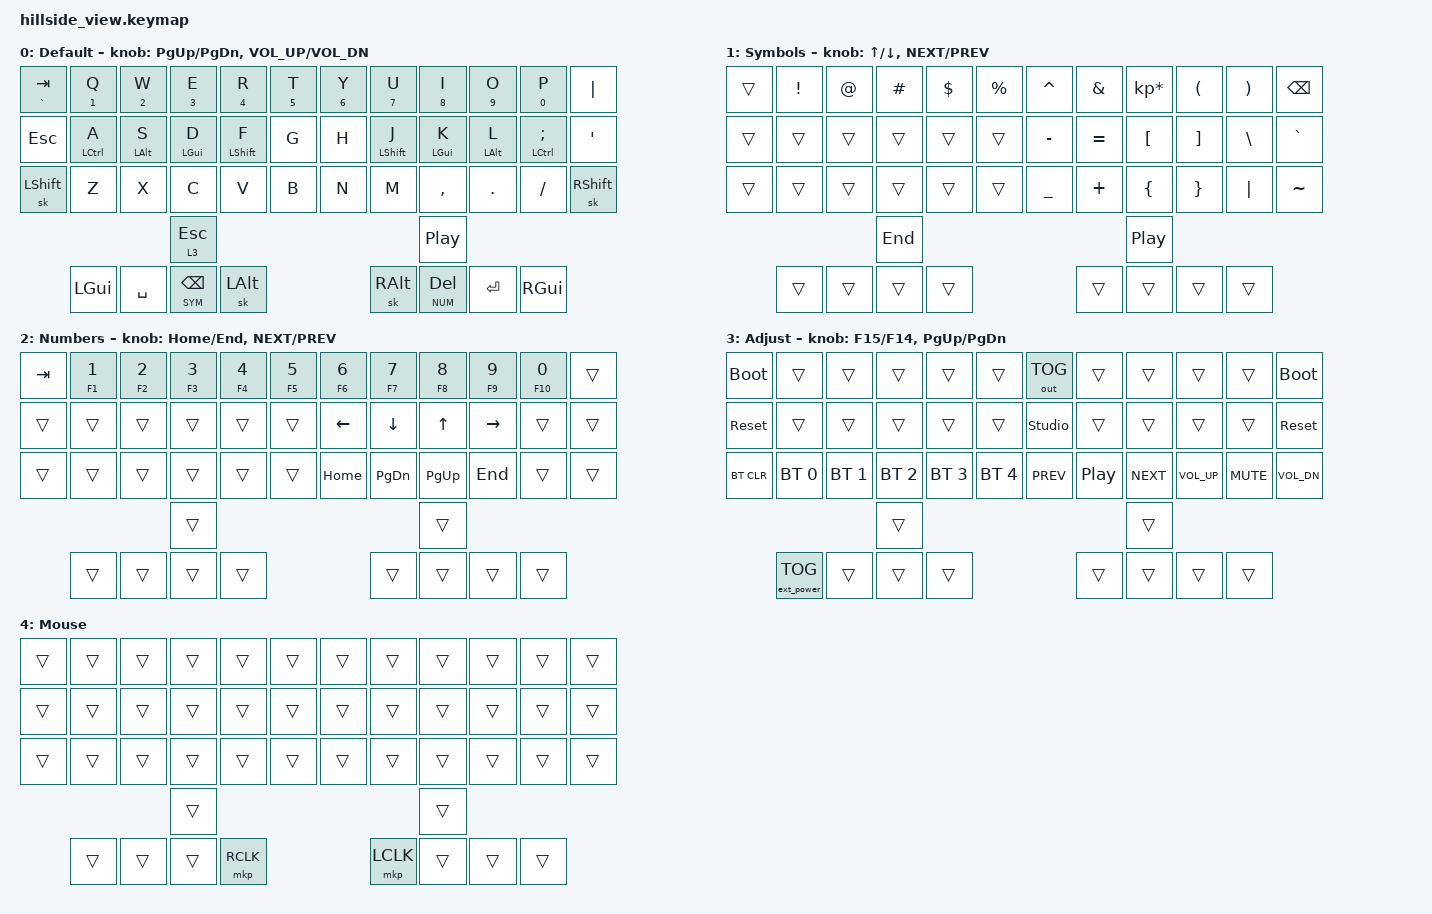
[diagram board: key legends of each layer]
#include <dt-bindings/zmk/mouse.h>
#include <behaviors/mouse_keys.dtsi>
#include <behaviors/studio_unlock.dtsi>
#include <dt-bindings/zmk/input_transform.h>
#include <input/processors.dtsi>
#include <behaviors.dtsi>
#include <dt-bindings/zmk/bt.h>
#include <dt-bindings/zmk/ext_power.h>
#include <dt-bindings/zmk/keys.h>
#include <dt-bindings/zmk/outputs.h>
#include <dt-bindings/zmk/pointing.h>

#define DEF 0
#define SYM 1
#define NUM 2
#define ADJ 3
#define MOUSE 4
#define QUICK_TAP_MS 175
#define TAPPING_TERM_MS 150

&sk {
    release-after-ms = <600>;
    quick-release;
};

/ {
    // Trackpad input listener with temp layer and layer-specific processors
    // - MOUSE layer activates during any trackpad movement (300ms timeout)
    // - NUM layer: precise mode (slower movement)
    // - SYM layer: scroll mode

    tpad0_mmv_il {
        compatible = "zmk,input-listener";
        device = <&glidepoint_split>;
        input-processors = <&zip_temp_layer MOUSE 300>;

        precise {
            layers = <NUM>;
            process-next;
            input-processors = <&zip_xy_scaler 1 3>;
        };

        scroll {
            layers = <SYM>;
            process-next;
            input-processors =
                <&zip_xy_scaler 1 22>,
                <&zip_x_scaler 0 1>,
                <&zip_xy_to_scroll_mapper>;
        };
    };

    conditional_layers {
        compatible = "zmk,conditional-layers";

        tri_layer {
            if-layers = <SYM NUM>;
            then-layer = <ADJ>;
        };
    };

    combos {
        compatible = "zmk,combos";

        caps {
            timeout-ms = <50>;
            key-positions = <17 18>;  // G and H (home row shifts)
            bindings = <&caps_word>;
        };
    };

    behaviors {
        lq: layer_toggle_quick {
            compatible = "zmk,behavior-hold-tap";
            label = "Layer Toggle Quick";
            #binding-cells = <2>;
            flavor = "tap-preferred";
            tapping-term-ms = <TAPPING_TERM_MS>;
            quick-tap-ms = <QUICK_TAP_MS>;
            bindings = <&mo>, <&kp>;
        };

        ht: hold_tap {
            compatible = "zmk,behavior-hold-tap";
            label = "Hold Tap";
            #binding-cells = <2>;
            flavor = "tap-preferred";
            tapping-term-ms = <200>;
            quick-tap-ms = <175>;
            bindings = <&kp>, <&kp>;
        };

        htb: hold_tap_balanced {
            compatible = "zmk,behavior-hold-tap";
            label = "Hold Tap Balanced";
            #binding-cells = <2>;
            flavor = "balanced";
            tapping-term-ms = <200>;
            quick-tap-ms = <175>;
            bindings = <&kp>, <&kp>;
        };
    };

    keymap {
        compatible = "zmk,keymap";

        default_layer {
            display-name = "Default";

            // ---------------------------------------------------------------------------------------
            // | `/TAB | 1/Q | 2/W | 3/E | 4/R | 5/T |                | 6/Y | 7/U | 8/I | 9/O | 0/P |  |   |
            // |  ESC  | ^/A | @/S | ⌘/D | ⇧/F |  G  |                |  H  | ⇧/J | ⌘/K | @/L | ^/; |  '   |
            // |  ⇧    |  Z  |  X  |  C  |  V  |  B  |                |  N  |  M  |  ,  |  .  |  /  |  ⇧   |
            //                                        | END |     | PP |
            //                     | ⌘ | SPC | ⎇/BSPC | @ |     | @ | ⌥/DEL | RET | ⌘ |

            bindings = <
&ht GRAVE TAB  &ht N1 Q     &ht N2 W    &ht N3 E      &ht N4 R       &ht N5 T      &ht N6 Y  &ht N7 U       &ht N8 I     &ht N9 O    &ht N0 P        &kp PIPE
&kp ESC        &ht LCTRL A  &ht LALT S  &ht LGUI D    &htb LSHIFT F  &kp G         &kp H     &htb LSHIFT J  &ht LGUI K   &ht LALT L  &ht LCTRL SEMI  &kp SQT
&sk LSHFT      &kp Z        &kp X       &kp C         &kp V          &kp B         &kp N     &kp M          &kp COMMA    &kp DOT     &kp FSLH        &sk RSHFT
                                        &lt 3 ESC                                                           &kp C_PP
               &kp LGUI     &kp SPACE   &lq SYM BSPC  &sk LEFT_ALT                           &sk RIGHT_ALT  &lq NUM DEL  &kp RET     &kp RGUI
            >;

            sensor-bindings = <&inc_dec_kp PG_UP PG_DN &inc_dec_kp C_VOL_UP C_VOL_DN>;
        };

        sym_layer {
            display-name = "Symbols";

            // ---------------------------------------------------------------------------------------
            // |     |  !  |  @  |  #  |  $  |  %  |                |  ^  |  &  |  *  |  (  |  )  | BSPC |
            // |     |     |     |     |     |     |                |  -  |  =  |  [  |  ]  |  \  |  `   |
            // |     |     |     |     |     |     |                |  _  |  +  |  {  |  }  |  |  |  ~   |
            //                                      | END |     | PP |
            //                     |   |     |     |     |     |     |     |     |     |

            bindings = <
&trans  &kp EXCL  &kp AT  &kp HASH  &kp DLLR  &kp PRCNT      &kp CARET  &kp AMPS   &kp KP_MULTIPLY  &kp LPAR  &kp RPAR  &kp BSPC
&trans  &trans    &trans  &trans    &trans    &trans         &kp MINUS  &kp EQUAL  &kp LBKT         &kp RBKT  &kp BSLH  &kp GRAVE
&trans  &trans    &trans  &trans    &trans    &trans         &kp UNDER  &kp PLUS   &kp LBRC         &kp RBRC  &kp PIPE  &kp TILDE
                          &kp END                                                  &kp C_PP
        &trans    &trans  &trans    &trans                              &trans     &trans           &trans    &trans
            >;

            sensor-bindings = <&inc_dec_kp UP DOWN &inc_dec_kp C_NEXT C_PREV>;
        };

        num_layer {
            display-name = "Numbers";

            // ---------------------------------------------------------------------------------------
            // | TAB | F1/1 | F2/2 | F3/3 | F4/4 | F5/5 |                | F6/6 | F7/7 | F8/8 | F9/9 | F10/0 |     |
            // |     |      |      |      |      |      |                |  ←   |  ↓   |  ↑   |   →  |       |     |
            // |     |      |      |      |      |      |                | HOME | PGDN | PGUP |  END |       |     |
            //                                           |     |     |     |
            //                     |     |      |      |      |     |      |     |      |     |

            bindings = <
&kp TAB  &ht F1 N1  &ht F2 N2  &ht F3 N3  &ht F4 N4  &ht F5 N5      &ht F6 N6  &ht F7 N7  &ht F8 N8  &ht F9 N9  &ht F10 N0  &trans
&trans   &trans     &trans     &trans     &trans     &trans         &kp LEFT   &kp DOWN   &kp UP     &kp RIGHT  &trans      &trans
&trans   &trans     &trans     &trans     &trans     &trans         &kp HOME   &kp PG_DN  &kp PG_UP  &kp END    &trans      &trans
                               &trans                                                     &trans
         &trans     &trans     &trans     &trans                               &trans     &trans     &trans     &trans
            >;

            sensor-bindings = <&inc_dec_kp HOME END &inc_dec_kp C_NEXT C_PREV>;
        };

        adj_layer {
            display-name = "Adjust";

            // ---------------------------------------------------------------------------------------
            // | BOOT |     |     |     |     |     |                | OUT |     |     |     |     | BOOT |
            // | RST  |     |     |     |     |     |                | ZMK |     |     |     |     | RST  |
            // | BTCLR| BT0 | BT1 | BT2 | BT3 | BT4 |                | PRV | PP  | NXT | VOL+| MUTE| VOL- |
            //                                       |     |     |     |
            //                     | EP  |     |     |     |     |     |     |     |     |

            bindings = <
&bootloader  &trans             &trans        &trans        &trans        &trans            &out OUT_TOG    &trans    &trans      &trans        &trans      &bootloader
&sys_reset   &trans             &trans        &trans        &trans        &trans            &studio_unlock  &trans    &trans      &trans        &trans      &sys_reset
&bt BT_CLR   &bt BT_SEL 0       &bt BT_SEL 1  &bt BT_SEL 2  &bt BT_SEL 3  &bt BT_SEL 4      &kp C_PREV      &kp C_PP  &kp C_NEXT  &kp C_VOL_UP  &kp C_MUTE  &kp C_VOL_DN
                                              &trans                                                                  &trans
             &ext_power EP_TOG  &trans        &trans        &trans                                          &trans    &trans      &trans        &trans
            >;

            // F15 and F14 are brightness controls for macOS

            sensor-bindings = <&inc_dec_kp F15 F14 &inc_dec_kp PG_UP PG_DN>;
        };

        mouse_layer {
            display-name = "Mouse";

            // ---------------------------------------------------------------------------------------
            // |     |     |     |     |     |     |                |     |     |     |     |     |     |
            // |     |     |     |     |     |     |                |     |     |     |     |     |     |
            // |     |     |     |     |     |     |                |     |     |     |     |     |     |
            //                                      |     |     |     |
            //                     |     |     |     | RCK |     | LCK |     |     |     |

            bindings = <
&trans  &trans  &trans  &trans  &trans     &trans      &trans  &trans     &trans  &trans  &trans  &trans
&trans  &trans  &trans  &trans  &trans     &trans      &trans  &trans     &trans  &trans  &trans  &trans
&trans  &trans  &trans  &trans  &trans     &trans      &trans  &trans     &trans  &trans  &trans  &trans
                        &trans                                            &trans
        &trans  &trans  &trans  &mkp RCLK                      &mkp LCLK  &trans  &trans  &trans
            >;
        };
    };
};
